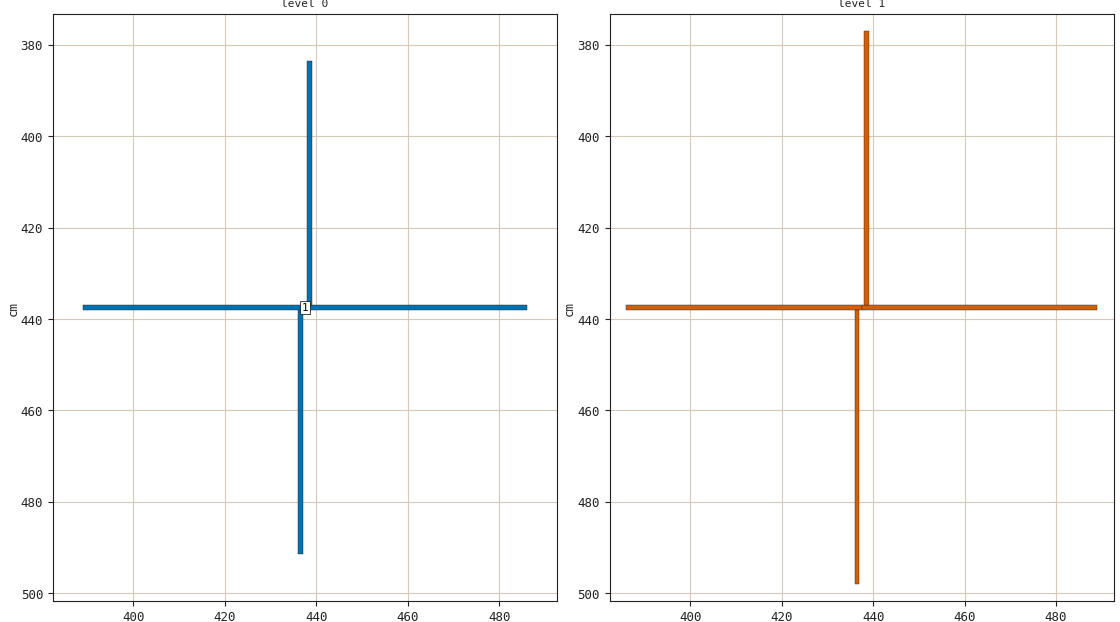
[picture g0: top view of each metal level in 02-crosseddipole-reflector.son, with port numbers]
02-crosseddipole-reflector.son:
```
FTYP SONPROJ 16 ! Sonnet Project File
VER 16.54
HEADER
LIC uibk50.1.47637 00059a3c7a00 DESKTOP-N3CL5MP domim
DAT 03/14/2020 10:26:12
BUILT_BY_CREATED xgeom 16.56 02/23/2020 12:15:21
BUILT_BY_SAVED xgeom 16.56
MDATE 03/13/2020 16:30:38
HDATE 03/13/2020 16:30:38
END HEADER
DIM
FREQ MHZ
IND NH
LNG CM
ANG DEG
CON /OH
CAP NF
RES OH
END DIM
FREQ
ABS 100.0 180.0 
STEP 137.0
END FREQ
CONTROL
STD
OPTIONS  -dj 
SPEED 0
CACHE_ABS 1
TARG_ABS 300
Q_ACC N
END CONTROL
GEO
TMET "Free Space" 0 FREESPACE 376.7303136 0 0 0
BMET "Free Space" 0 FREESPACE 376.7303136 0 0 0
MET "Copper" 1 NOR 58000000 0 1 
BOX 2 875 875 17500 17500 20 0
      150 1 1 0 0 0 0 "Unnamed"
      "dist" 1 1 0 0 0 0 "Unnamed"
      150 1 1 0 0 0 0 "Unnamed"
VALVAR LA LNG 97 "Dim. Param. LA"
VALVAR lh2 LNG 53.5 "Dim. Param. lh2"
VALVAR dist LNG 54.71 "Layer Thickness"
VALVAR LArefl LNG 103 "Dim. Param. LArefl"
VALVAR lh2refl LNG 60 "Dim. Param. lh2refl"
LORGN 0 875 U 
POR1 STD
POLY 10 1
2
1 50 0 0 0 437.5 437.5 
NUM 8
0 5 0 N 10 1 1 100 100 0 0 0 Y
389 437
389 438
437.5 438
437.5 437
389 437
END
0 5 0 N 12 1 1 100 100 0 0 0 Y
437.5 437
437.5 438
486 438
486 437
437.5 437
END
0 5 0 N 13 1 1 100 100 0 0 0 Y
437 438
436 438
436 491.5
437 491.5
437 438
END
0 5 0 N 14 1 1 100 100 0 0 0 Y
439 383.5
438 383.5
438 437
439 437
439 383.5
END
1 5 0 N 16 1 1 100 100 0 0 0 Y
386 437
386 438
437.5 438
437.5 437
386 437
END
1 5 0 N 17 1 1 100 100 0 0 0 Y
437.5 437
437.5 438
489 438
489 437
437.5 437
END
1 5 0 N 18 1 1 100 100 0 0 0 Y
437 438
436 438
436 498
437 498
437 438
END
1 5 0 N 19 1 1 100 100 0 0 0 Y
439 377
438 377
438 437
439 437
439 377
END
END GEO
OPT
MAX 100
VARS
VAR LA N 90.0 105.0 1.0
VAR lh2 N 46.0 60.0 1.0
VAR dist N 50.0 58.0 0.5
VAR LArefl Y 90.0 105.0 1.0
VAR lh2refl Y 46.0 60.0 1.0
END
STEP 137.0
NET=GEO DB[S11] < VALUE=-35.0 1.0
END OPT
VARSWP
ABS_ENTRY 100.0 174.0 
VAR LA N 97.0 97.0 UNDEF
VAR lh2 N 53.5 53.5 UNDEF
VAR dist Y 50.0 58.0 1.0
VAR LArefl N 94.0 180.0 4.0
VAR lh2refl N 53.5 53.5 UNDEF
END
END VARSWP
FILEOUT
END FILEOUT
QSG
IMPORT NO
EXTRA_METAL NO
UNITS YES
ALIGN NO
REF NO
VIEW_RES YES
METALS NO
USED NO
END QSG
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```
